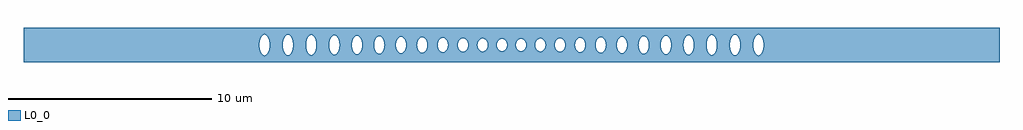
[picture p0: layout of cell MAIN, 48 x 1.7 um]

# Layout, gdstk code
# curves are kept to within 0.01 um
import gdstk
lib = gdstk.Library(unit=1e-6, precision=1e-09)
def P(c, l, *ps):  # polygons
    for p in ps: c.add(gdstk.Polygon(p, *l))
L0_0 = (0, 0)

main = lib.new_cell('MAIN')
P(main, L0_0, [(-12.236,-0.487),(-12.303,-0.413),(-12.357,-0.296),(-12.357,-0.85),(-12.236,-0.85)],
  [(-12.23,0.492),(-12.146,0.521),(-12.073,0.5),(-12.004,0.435),(-11.952,0.342),(-11.952,0.85),(-12.236,0.85)],
  [(-11.952,-0.342),(-12.004,-0.435),(-12.073,-0.5),(-12.162,-0.52),(-12.236,-0.487),(-12.236,-0.85),(-11.952,-0.85)],
  [(24,0.85),(12.357,0.85),(12.357,0.296),(12.386,0.189),(12.403,0.032),(12.394,-0.14),(12.357,-0.296),(12.357,-0.85),(24,-0.85)],
  [(-11.22,0.252),(-11.171,0.377),(-11.102,0.47),(-11.022,0.514),(-10.958,0.511),(-10.958,0.85),(-11.221,0.85)],
  [(-10.958,-0.511),(-11.047,-0.506),(-11.116,-0.456),(-11.171,-0.377),(-11.221,-0.246),(-11.221,-0.85),(-10.958,-0.85)],
  [(-10.742,0.85),(-10.958,0.85),(-10.958,0.511),(-10.876,0.459),(-10.821,0.382),(-10.773,0.263),(-10.742,0.102)],
  [(-10.742,-0.102),(-10.773,-0.263),(-10.821,-0.382),(-10.876,-0.459),(-10.958,-0.511),(-10.958,-0.85),(-10.742,-0.85)],
  [(-11.252,0.006),(-11.221,0.246),(-11.221,0.85),(-11.952,0.85),(-11.952,0.342),(-11.902,0.171),(-11.888,0)],
  [(-9.978,0.436),(-9.903,0.494),(-9.822,0.503),(-9.754,0.47),(-9.684,0.389),(-9.684,0.85),(-9.983,0.85)],
  [(-9.684,-0.389),(-9.754,-0.47),(-9.829,-0.504),(-9.903,-0.494),(-9.983,-0.43),(-9.983,-0.85),(-9.684,-0.85)],
  [(-10.106,0.006),(-10.071,0.254),(-9.983,0.43),(-9.983,0.85),(-10.742,0.85),(-10.737,0)],
  [(-8.955,0.171),(-8.906,0.325),(-8.854,0.41),(-8.782,0.471),(-8.704,0.488),(-8.704,0.85),(-8.956,0.85)],
  [(-8.704,-0.488),(-8.782,-0.471),(-8.854,-0.41),(-8.914,-0.306),(-8.956,-0.165),(-8.956,-0.85),(-8.704,-0.85)],
  [(-8.466,0.85),(-8.704,0.85),(-8.704,0.488),(-8.62,0.455),(-8.56,0.392),(-8.501,0.276),(-8.466,0.135)],
  [(-8.466,-0.135),(-8.501,-0.276),(-8.56,-0.392),(-8.617,-0.453),(-8.704,-0.488),(-8.704,-0.85),(-8.466,-0.85)],
  [(-8.971,0.006),(-8.956,0.165),(-8.956,0.85),(-9.684,0.85),(-9.684,0.389),(-9.615,0.215),(-9.591,0)],
  [(-7.733,0.396),(-7.659,0.453),(-7.582,0.466),(-7.498,0.431),(-7.432,0.358),(-7.432,0.85),(-7.739,0.85)],
  [(-7.432,-0.358),(-7.498,-0.431),(-7.582,-0.466),(-7.659,-0.453),(-7.739,-0.389),(-7.739,-0.85),(-7.432,-0.85)],
  [(-7.854,0.003),(-7.821,0.23),(-7.739,0.389),(-7.739,0.85),(-8.466,0.85),(-8.456,0)],
  [(-6.738,0.179),(-6.686,0.311),(-6.622,0.392),(-6.53,0.44),(-6.461,0.436),(-6.461,0.85),(-6.739,0.85)],
  [(-6.461,-0.436),(-6.53,-0.44),(-6.622,-0.392),(-6.693,-0.298),(-6.739,-0.173),(-6.739,-0.85),(-6.461,-0.85)],
  [(-6.246,0.85),(-6.461,0.85),(-6.461,0.436),(-6.383,0.392),(-6.314,0.302),(-6.268,0.184),(-6.246,0.041)],
  [(-6.246,-0.041),(-6.268,-0.184),(-6.314,-0.302),(-6.383,-0.392),(-6.461,-0.436),(-6.461,-0.85),(-6.246,-0.85)],
  [(-6.76,0.006),(-6.739,0.173),(-6.739,0.85),(-7.432,0.85),(-7.432,0.358),(-7.364,0.2),(-7.339,0)],
  [(-5.505,0.4),(-5.417,0.416),(-5.344,0.391),(-5.27,0.322),(-5.211,0.209),(-5.211,0.85),(-5.512,0.85)],
  [(-5.211,-0.209),(-5.27,-0.322),(-5.344,-0.391),(-5.417,-0.416),(-5.512,-0.396),(-5.512,-0.85),(-5.211,-0.85)],
  [(-5.691,0.006),(-5.677,0.136),(-5.636,0.257),(-5.585,0.337),(-5.512,0.396),(-5.512,0.85),(-6.246,0.85),(-6.245,0)],
  [(-4.557,0.299),(-4.478,0.368),(-4.395,0.391),(-4.308,0.37),(-4.228,0.302),(-4.228,0.85),(-4.56,0.85)],
  [(-4.228,-0.302),(-4.308,-0.37),(-4.395,-0.391),(-4.478,-0.368),(-4.56,-0.295),(-4.56,-0.85),(-4.228,-0.85)],
  [(-4.648,0.006),(-4.624,0.167),(-4.56,0.295),(-4.56,0.85),(-5.211,0.85),(-5.211,0.209),(-5.176,0)],
  [(-3.596,0.19),(-3.536,0.287),(-3.463,0.345),(-3.363,0.366),(-3.274,0.337),(-3.274,0.85),(-3.598,0.85)],
  [(-3.274,-0.337),(-3.363,-0.366),(-3.463,-0.345),(-3.548,-0.273),(-3.598,-0.185),(-3.598,-0.85),(-3.274,-0.85)],
  [(-3.633,0.005),(-3.598,0.185),(-3.598,0.85),(-4.228,0.85),(-4.228,0.302),(-4.155,0.157),(-4.134,0)],
  [(-2.632,0.103),(-2.586,0.218),(-2.515,0.299),(-2.431,0.34),(-2.334,0.338),(-2.334,0.85),(-2.633,0.85)],
  [(-2.334,-0.338),(-2.431,-0.34),(-2.515,-0.299),(-2.586,-0.218),(-2.633,-0.098),(-2.633,-0.85),(-2.334,-0.85)],
  [(-2.643,0.005),(-2.633,0.85),(-3.274,0.85),(-3.274,0.337),(-3.216,0.287),(-3.166,0.213),(-3.128,0.101),(-3.118,0)],
  [(-1.674,0.038),(-1.644,0.159),(-1.582,0.253),(-1.491,0.315),(-1.399,0.327),(-1.399,0.85),(-1.675,0.85)],
  [(-1.399,-0.327),(-1.491,-0.315),(-1.582,-0.253),(-1.644,-0.159),(-1.675,-0.033),(-1.675,-0.85),(-1.399,-0.85)],
  [(-1.676,0.003),(-1.675,0.85),(-2.334,0.85),(-2.334,0.338),(-2.257,0.299),(-2.186,0.218),(-2.145,0.123),(-2.129,0)],
  [(-0.726,0.01),(-0.7,0.141),(-0.647,0.229),(-0.561,0.296),(-0.465,0.316),(-0.465,0.85),(-0.726,0.85)],
  [(-0.465,-0.316),(-0.561,-0.296),(-0.647,-0.229),(-0.705,-0.127),(-0.726,-0.005),(-0.726,-0.85),(-0.465,-0.85)],
  [(-0.212,0.85),(-0.465,0.85),(-0.465,0.316),(-0.369,0.292),(-0.285,0.222),(-0.228,0.113),(-0.212,0)],
  [(-0.212,0),(-0.228,-0.113),(-0.285,-0.222),(-0.369,-0.292),(-0.465,-0.316),(-0.465,-0.85),(-0.212,-0.85)],
  [(0.212,0.005),(0.231,0.122),(0.285,0.222),(0.369,0.292),(0.465,0.316),(0.465,0.85),(-0.212,0.85),(-0.212,0)],
  [(0.465,-0.316),(0.369,-0.292),(0.285,-0.222),(0.228,-0.113),(0.212,0),(-0.212,0),(-0.212,-0.85),(0.465,-0.85)],
  [(0.473,0.316),(0.561,0.296),(0.647,0.229),(0.7,0.141),(0.726,0.01),(0.726,0.85),(0.465,0.85)],
  [(0.726,-0.01),(0.7,-0.141),(0.647,-0.229),(0.561,-0.296),(0.465,-0.316),(0.465,-0.85),(0.726,-0.85)],
  [(-0.726,0.005),(-0.726,0.85),(-1.399,0.85),(-1.399,0.327),(-1.314,0.3),(-1.235,0.23),(-1.18,0.125),(-1.161,0)],
  [(1.405,0.327),(1.493,0.314),(1.578,0.258),(1.645,0.157),(1.674,0.041),(1.674,0.85),(1.397,0.85)],
  [(1.674,-0.041),(1.645,-0.157),(1.578,-0.258),(1.493,-0.314),(1.397,-0.327),(1.397,-0.85),(1.674,-0.85)],
  [(1.161,0.003),(1.175,0.108),(1.231,0.225),(1.312,0.299),(1.397,0.327),(1.397,0.85),(0.726,0.85),(0.726,0)],
  [(2.341,0.34),(2.431,0.34),(2.515,0.299),(2.586,0.218),(2.633,0.098),(2.633,0.85),(2.334,0.85)],
  [(2.633,-0.098),(2.586,-0.218),(2.515,-0.299),(2.431,-0.34),(2.334,-0.338),(2.334,-0.85),(2.633,-0.85)],
  [(2.129,0.005),(2.145,0.123),(2.186,0.218),(2.257,0.299),(2.334,0.338),(2.334,0.85),(1.674,0.85),(1.676,0)],
  [(3.278,0.339),(3.363,0.366),(3.463,0.345),(3.548,0.273),(3.598,0.185),(3.598,0.85),(3.271,0.85)],
  [(3.598,-0.185),(3.548,-0.273),(3.463,-0.345),(3.363,-0.366),(3.271,-0.334),(3.271,-0.85),(3.598,-0.85)],
  [(3.118,0.005),(3.128,0.101),(3.166,0.213),(3.216,0.287),(3.271,0.334),(3.271,0.85),(2.633,0.85),(2.643,0)],
  [(4.231,0.306),(4.308,0.37),(4.395,0.391),(4.478,0.368),(4.56,0.295),(4.56,0.85),(4.225,0.85)],
  [(4.56,-0.295),(4.478,-0.368),(4.395,-0.391),(4.308,-0.37),(4.225,-0.299),(4.225,-0.85),(4.56,-0.85)],
  [(4.134,0.006),(4.155,0.157),(4.225,0.299),(4.225,0.85),(3.598,0.85),(3.598,0.185),(3.633,0)],
  [(5.211,0.209),(5.27,0.322),(5.344,0.391),(5.417,0.416),(5.512,0.396),(5.512,0.85),(5.209,0.85)],
  [(5.512,-0.396),(5.417,-0.416),(5.344,-0.391),(5.262,-0.311),(5.209,-0.204),(5.209,-0.85),(5.512,-0.85)],
  [(5.176,0.006),(5.209,0.204),(5.209,0.85),(4.56,0.85),(4.56,0.295),(4.63,0.147),(4.648,0)],
  [(6.246,0.041),(6.268,0.184),(6.314,0.302),(6.383,0.392),(6.461,0.436),(6.461,0.85),(6.246,0.85)],
  [(6.461,-0.436),(6.383,-0.392),(6.307,-0.289),(6.264,-0.168),(6.246,-0.036),(6.246,-0.85),(6.461,-0.85)],
  [(6.468,0.438),(6.561,0.431),(6.622,0.392),(6.686,0.311),(6.738,0.179),(6.738,0.85),(6.461,0.85)],
  [(6.738,-0.179),(6.686,-0.311),(6.622,-0.392),(6.53,-0.44),(6.461,-0.436),(6.461,-0.85),(6.738,-0.85)],
  [(6.245,0.006),(6.246,0.85),(5.512,0.85),(5.512,0.396),(5.585,0.337),(5.636,0.257),(5.677,0.136),(5.691,0)],
  [(7.433,0.36),(7.499,0.432),(7.581,0.466),(7.661,0.452),(7.737,0.391),(7.737,0.85),(7.431,0.85)],
  [(7.737,-0.391),(7.661,-0.452),(7.581,-0.466),(7.499,-0.432),(7.431,-0.356),(7.431,-0.85),(7.737,-0.85)],
  [(7.339,0.003),(7.362,0.192),(7.431,0.356),(7.431,0.85),(6.738,0.85),(6.738,0.179),(6.76,0)],
  [(8.466,0.135),(8.501,0.276),(8.56,0.392),(8.617,0.453),(8.704,0.488),(8.704,0.85),(8.465,0.85)],
  [(8.704,-0.488),(8.617,-0.453),(8.552,-0.38),(8.501,-0.276),(8.465,-0.129),(8.465,-0.85),(8.704,-0.85)],
  [(8.71,0.488),(8.782,0.471),(8.854,0.41),(8.906,0.325),(8.955,0.171),(8.955,0.85),(8.704,0.85)],
  [(8.955,-0.171),(8.906,-0.325),(8.854,-0.41),(8.782,-0.471),(8.704,-0.488),(8.704,-0.85),(8.955,-0.85)],
  [(8.456,0.006),(8.465,0.85),(7.737,0.85),(7.737,0.391),(7.784,0.321),(7.825,0.217),(7.854,0)],
  [(9.687,0.393),(9.754,0.47),(9.829,0.504),(9.903,0.494),(9.981,0.433),(9.981,0.85),(9.684,0.85)],
  [(9.981,-0.433),(9.903,-0.494),(9.822,-0.503),(9.754,-0.47),(9.684,-0.389),(9.684,-0.85),(9.981,-0.85)],
  [(9.591,0.006),(9.615,0.215),(9.684,0.389),(9.684,0.85),(8.955,0.85),(8.955,0.171),(8.971,0)],
  [(10.743,0.108),(10.773,0.263),(10.821,0.382),(10.876,0.459),(10.955,0.51),(10.955,0.85),(10.742,0.85)],
  [(10.955,-0.51),(10.876,-0.459),(10.821,-0.382),(10.773,-0.263),(10.742,-0.102),(10.742,-0.85),(10.955,-0.85)],
  [(10.961,0.512),(11.047,0.506),(11.116,0.456),(11.171,0.377),(11.221,0.246),(11.221,0.85),(10.955,0.85)],
  [(11.221,-0.246),(11.171,-0.377),(11.102,-0.47),(11.022,-0.514),(10.955,-0.51),(10.955,-0.85),(11.221,-0.85)],
  [(10.737,0.006),(10.742,0.85),(9.981,0.85),(9.981,0.433),(10.025,0.368),(10.071,0.254),(10.106,0)],
  [(11.952,0.342),(12.004,0.435),(12.073,0.5),(12.162,0.52),(12.236,0.487),(12.236,0.85),(11.95,0.85)],
  [(12.236,-0.487),(12.162,-0.52),(12.073,-0.5),(12.004,-0.435),(11.95,-0.337),(11.95,-0.85),(12.236,-0.85)],
  [(-12.357,-0.296),(-12.386,-0.189),(-12.403,-0.032),(-12.394,0.14),(-12.357,0.296),(-12.357,0.85),(-24,0.85),(-24,-0.85),(-12.357,-0.85)],
  [(-12.355,0.302),(-12.303,0.413),(-12.236,0.487),(-12.236,0.85),(-12.357,0.85)],
  [(12.357,0.85),(12.236,0.85),(12.236,0.487),(12.303,0.413),(12.357,0.296)],
  [(12.357,-0.296),(12.303,-0.413),(12.236,-0.487),(12.236,-0.85),(12.357,-0.85)],
  [(-11.221,-0.246),(-11.252,0),(-11.888,0),(-11.902,-0.171),(-11.952,-0.342),(-11.952,-0.85),(-11.221,-0.85)],
  [(-9.983,-0.43),(-10.071,-0.254),(-10.106,0),(-10.737,0),(-10.742,-0.85),(-9.983,-0.85)],
  [(-8.956,-0.165),(-8.971,0),(-9.591,0),(-9.615,-0.215),(-9.684,-0.389),(-9.684,-0.85),(-8.956,-0.85)],
  [(-7.739,-0.389),(-7.821,-0.23),(-7.854,0),(-8.456,0),(-8.466,-0.85),(-7.739,-0.85)],
  [(-6.739,-0.173),(-6.76,0),(-7.339,0),(-7.364,-0.2),(-7.432,-0.358),(-7.432,-0.85),(-6.739,-0.85)],
  [(-5.512,-0.396),(-5.585,-0.337),(-5.636,-0.257),(-5.677,-0.136),(-5.691,0),(-6.245,0),(-6.246,-0.85),(-5.512,-0.85)],
  [(-4.56,-0.295),(-4.63,-0.147),(-4.648,0),(-5.176,0),(-5.211,-0.209),(-5.211,-0.85),(-4.56,-0.85)],
  [(-3.598,-0.185),(-3.633,0),(-4.134,0),(-4.155,-0.157),(-4.228,-0.302),(-4.228,-0.85),(-3.598,-0.85)],
  [(-2.633,-0.098),(-2.643,0),(-3.118,0),(-3.128,-0.101),(-3.166,-0.213),(-3.216,-0.287),(-3.274,-0.337),(-3.274,-0.85),(-2.633,-0.85)],
  [(-1.675,-0.033),(-1.676,0),(-2.129,0),(-2.145,-0.123),(-2.186,-0.218),(-2.257,-0.299),(-2.334,-0.338),(-2.334,-0.85),(-1.675,-0.85)],
  [(-0.726,-0.005),(-1.161,0),(-1.18,-0.125),(-1.235,-0.23),(-1.314,-0.3),(-1.399,-0.327),(-1.399,-0.85),(-0.726,-0.85)],
  [(1.397,-0.327),(1.312,-0.299),(1.231,-0.225),(1.175,-0.108),(1.161,0),(0.726,0),(0.726,-0.85),(1.397,-0.85)],
  [(2.334,-0.338),(2.257,-0.299),(2.186,-0.218),(2.145,-0.123),(2.129,0),(1.676,0),(1.674,-0.85),(2.334,-0.85)],
  [(3.271,-0.334),(3.216,-0.287),(3.166,-0.213),(3.128,-0.101),(3.118,0),(2.643,0),(2.633,-0.85),(3.271,-0.85)],
  [(4.225,-0.299),(4.155,-0.157),(4.134,0),(3.633,0),(3.598,-0.185),(3.598,-0.85),(4.225,-0.85)],
  [(5.209,-0.204),(5.176,0),(4.648,0),(4.63,-0.147),(4.56,-0.295),(4.56,-0.85),(5.209,-0.85)],
  [(6.246,-0.036),(6.245,0),(5.691,0),(5.677,-0.136),(5.636,-0.257),(5.585,-0.337),(5.512,-0.396),(5.512,-0.85),(6.246,-0.85)],
  [(7.431,-0.356),(7.362,-0.192),(7.339,0),(6.76,0),(6.738,-0.179),(6.738,-0.85),(7.431,-0.85)],
  [(8.465,-0.129),(8.456,0),(7.854,0),(7.825,-0.217),(7.784,-0.321),(7.737,-0.391),(7.737,-0.85),(8.465,-0.85)],
  [(9.684,-0.389),(9.615,-0.215),(9.591,0),(8.971,0),(8.955,-0.171),(8.955,-0.85),(9.684,-0.85)],
  [(10.742,-0.102),(10.737,0),(10.106,0),(10.071,-0.254),(10.025,-0.368),(9.981,-0.433),(9.981,-0.85),(10.742,-0.85)],
  [(11.95,-0.337),(11.902,-0.171),(11.888,0),(11.252,0),(11.221,-0.246),(11.221,-0.85),(11.95,-0.85)],
  [(11.888,0.006),(11.902,0.171),(11.95,0.337),(11.95,0.85),(11.221,0.85),(11.221,0.246),(11.252,0)])

lib.write_gds('MAIN.gds')
